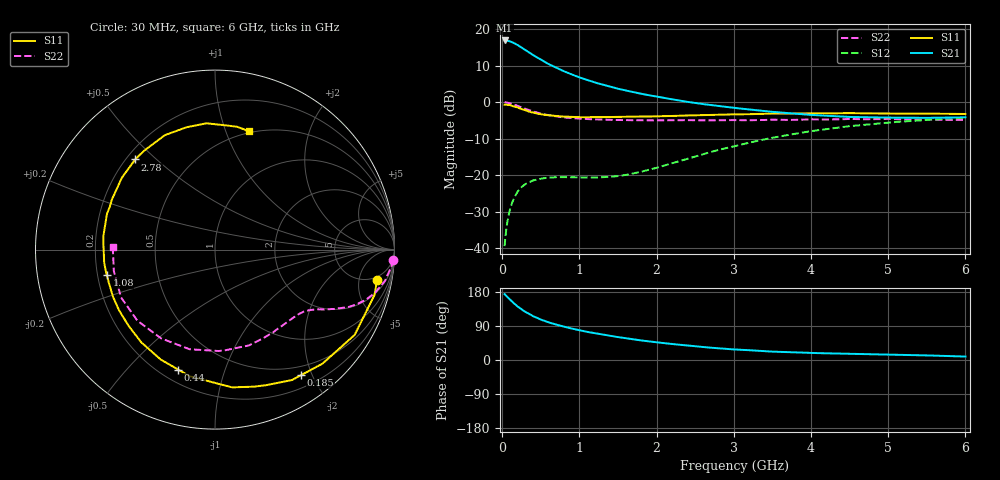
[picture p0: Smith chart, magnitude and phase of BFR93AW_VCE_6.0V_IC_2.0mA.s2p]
! Infineon Technologies  Discrete & RF Semiconductors
! BFR93AW
! VCE =  6.0 V,  IC =  2.0 mA
! Common Emitter S-Parameters:  Nov 2015
# GHz  S  MA  R  50
!  f  S11  S21  S12  S22
! GHz  MAG  ANG  MAG  ANG  MAG  ANG  MAG  ANG
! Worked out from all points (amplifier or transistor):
!   206 points, 30 MHz to 6 GHz, reference 50 ohm
!   highest |S21| = 16.9 dB at 30 MHz (marker M1)
!   |S21| within 3 dB of that: start of sweep to 326.9 MHz
!   unconditionally stable (mu >= 1): 1.216 GHz to 2.276 GHz
!   at 200 MHz: K = 0.16, MSG = 20.1 dB, |S12| = -24.5 dB
!   at 1.56 GHz: K = 1.15, MAG = 9.4 dB, |S12| = -20.1 dB
!   at 6 GHz: K = 0.98, MSG = 0.1 dB, |S12| = -4.3 dB
!   S11 on the Smith chart (normalised r, x): 30 MHz: 4.17, -8.97; 185 MHz: 0.37, -1.84; 440 MHz: 0.27, -0.70; 1.08 GHz: 0.24, -0.11; 2.78 GHz: 0.24, +0.43; 6 GHz: 0.48, +1.21
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0.03  0.9189 -10.5  6.976 173.8  0.0106 84.7  0.9952 -3.3
0.05  0.9239 -15.9  6.975 169.3  0.0176 81.4  0.9875 -5.4
0.1  0.9118 -31.4  6.812 159.3  0.0341 73.9  0.9629 -10.4
0.15  0.8732 -46.7  6.439 149.5  0.0479 65.2  0.9262 -14.8
0.185  0.848 -55.6  6.138 143.7  0.0559 60.5  0.8978 -17.3
0.24  0.8074 -69.3  5.658 134.9  0.0666 54.1  0.852 -20.7
0.3  0.7736 -82.9  5.162 126.7  0.0752 48.7  0.806 -23.5
0.4  0.7195 -101.3  4.396 115.5  0.0845 41.9  0.7414 -26.5
0.44  0.6992 -107.1  4.149 112.2  0.0863 40.1  0.7219 -27.4
0.5  0.683 -116.3  3.808 106.5  0.0893 37.5  0.6928 -28.8
0.6  0.6603 -128.4  3.313 99.3  0.0921 34.9  0.6593 -30.3
0.7  0.6419 -138.7  2.945 93.3  0.0936 33.7  0.6351 -31.9
0.82  0.6304 -149.2  2.583 86.8  0.0935 33.2  0.6123 -33.9
1.04  0.6192 -164.3  2.104 76.8  0.0928 35.8  0.5889 -37.7
1.08  0.6195 -166.8  2.036 75.1  0.0929 36.4  0.5854 -38.6
1.5  0.6266 173.1  1.521 60.4  0.0968 49.4  0.5674 -47.4
2.02  0.6388 153.7  1.175 46.1  0.1275 65.7  0.5621 -60.7
2.78  0.6704 131.5  0.889 31.2  0.2177 72.4  0.5629 -82.0
3.1  0.6789 123.2  0.811 26.9  0.2622 70.5  0.5632 -91.2
4.1  0.6996 101.2  0.658 18.1  0.4122 58.0  0.5764 -124.6
5.1  0.6948 84.9  0.611 13.8  0.5329 41.9  0.5819 -155.9
6  0.686 74.1  0.617 9.1  0.6096 28.6  0.5696 178.7
